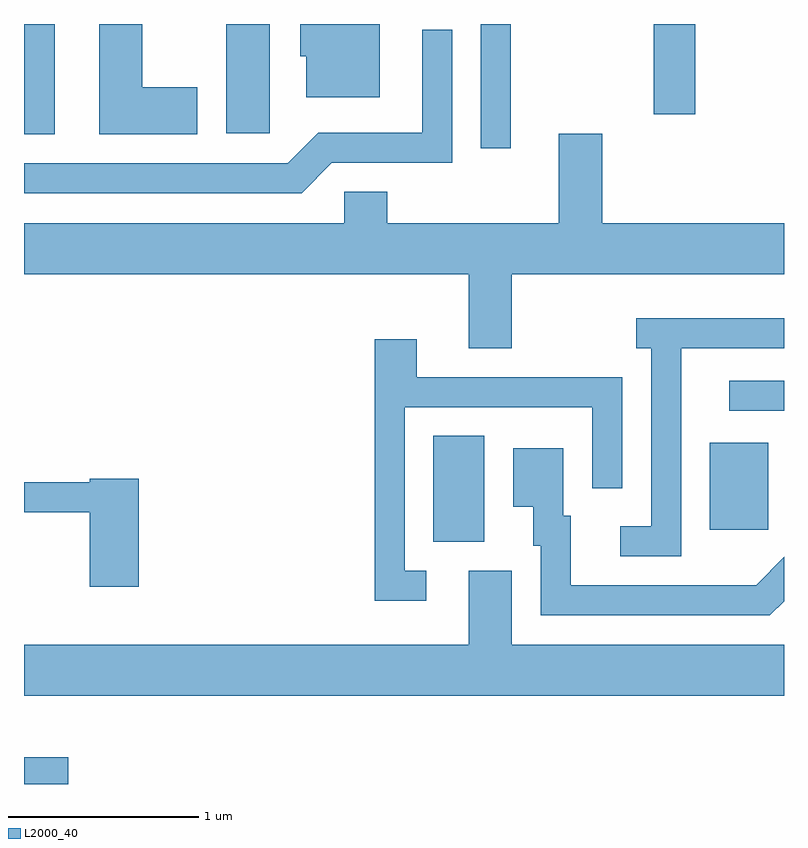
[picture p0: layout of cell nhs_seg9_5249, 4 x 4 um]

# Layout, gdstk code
import gdstk
lib = gdstk.Library(unit=1e-6, precision=1e-09)
def R(c, l, rs):  # rectangles x0, y0, x1, y1
    for r in rs: c.add(gdstk.rectangle(r[:2], r[2:], *l))
def P(c, l, *ps):  # polygons
    for p in ps: c.add(gdstk.Polygon(p, *l))
L2000_40 = (2000, 40)

nhs_seg9_5249 = lib.new_cell('nhs_seg9_5249')
R(nhs_seg9_5249, L2000_40, [(339.611,2022.432,339.844,2022.574), (341.766,2023.706,342.034,2024.264), (343.221,2023.771,343.529,2024.229), (343.323,2024.396,343.611,2024.554), (342.016,2025.778,342.174,2026.432), (339.611,2025.851,339.774,2026.432), (340.676,2025.856,340.904,2026.432), (342.926,2025.956,343.144,2026.432)])
P(nhs_seg9_5249, L2000_40, [(341.484,2026.432),(341.066,2026.432),(341.066,2026.261),(341.096,2026.261),(341.096,2026.046),(341.484,2026.046)],
  [(340.524,2026.099),(340.234,2026.099),(340.234,2026.432),(340.006,2026.432),(340.006,2025.851),(340.524,2025.851)],
  [(341.232,2025.701),(341.864,2025.701),(341.864,2026.403),(341.706,2026.403),(341.706,2025.859),(341.159,2025.859),(340.999,2025.699),(339.611,2025.699),(339.611,2025.541),(341.072,2025.541)],
  [(342.179,2025.116),(343.611,2025.116),(343.611,2025.384),(342.654,2025.384),(342.654,2025.854),(342.426,2025.854),(342.426,2025.384),(341.524,2025.384),(341.524,2025.549),(341.296,2025.549),(341.296,2025.384),(339.611,2025.384),(339.611,2025.116),(341.951,2025.116),(341.951,2024.726),(342.179,2024.726)],
  [(343.069,2024.726),(343.611,2024.726),(343.611,2024.884),(342.833,2024.884),(342.833,2024.726),(342.911,2024.726),(342.911,2023.789),(342.748,2023.789),(342.748,2023.631),(343.069,2023.631)],
  [(341.728,2023.554),(341.614,2023.554),(341.614,2024.416),(342.601,2024.416),(342.601,2023.988),(342.759,2023.988),(342.759,2024.574),(341.679,2024.574),(341.679,2024.774),(341.456,2024.774),(341.456,2023.396),(341.728,2023.396)],
  [(343.611,2023.395),(343.611,2023.627),(343.464,2023.479),(342.489,2023.479),(342.489,2023.844),(342.449,2023.844),(342.449,2024.199),(342.186,2024.199),(342.186,2023.891),(342.291,2023.891),(342.291,2023.686),(342.331,2023.686),(342.331,2023.321),(343.537,2023.321)],
  [(340.214,2024.039),(339.956,2024.039),(339.956,2024.019),(339.611,2024.019),(339.611,2023.861),(339.956,2023.861),(339.956,2023.471),(340.214,2023.471)],
  [(343.611,2023.164),(342.179,2023.164),(342.179,2023.554),(341.951,2023.554),(341.951,2023.164),(339.611,2023.164),(339.611,2022.896),(343.611,2022.896)])

lib.write_gds('nhs_seg9_5249.gds')
